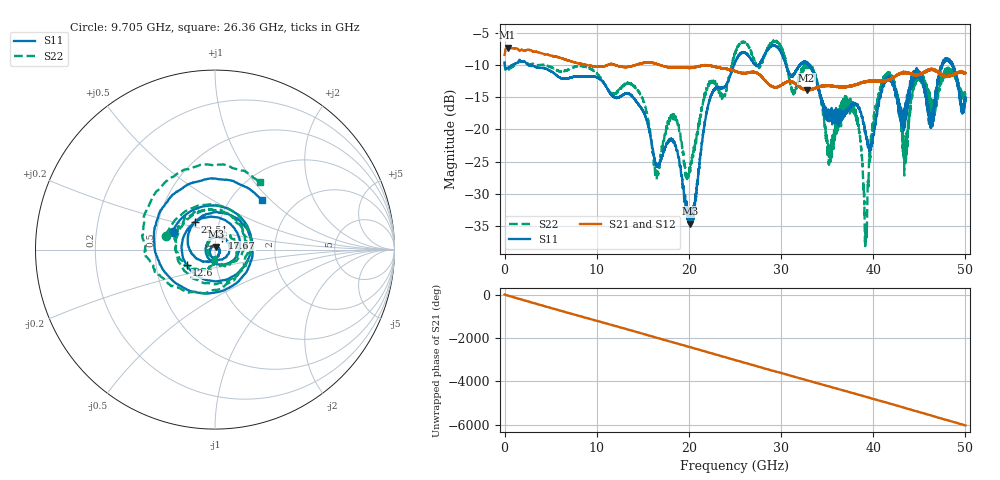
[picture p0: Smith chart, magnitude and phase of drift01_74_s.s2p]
!Created with skrf (http://scikit-rf.org).
# Hz S RI R 50.0
!freq ReS11 ImS11 ReS21 ImS21 ReS12 ImS12 ReS22 ImS22
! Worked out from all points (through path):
!   10001 points, 300 kHz to 50 GHz, reference 50 ohm
!   highest |S21| = -7.33 dB at 315.3 MHz (marker M1); lowest = -14.0 dB at 32.77 GHz (marker M2)
!   group delay of S21, straight-line fit = 335 ps
!   lowest |S11| = -34.6 dB at 20.15 GHz (marker M3), VSWR 1.04, Z = 50.7 + j1.73 ohm
!   |S11| at or under -10 dB: 2.567 GHz to 24.9 GHz (22.33 GHz wide, 163 % of centre); 30.53 GHz to 32.03 GHz (1.501 GHz wide, 4.8 % of centre); 33.07 GHz to 47.46 GHz (14.39 GHz wide, 35.7 % of centre) (the widest 3 of 21)
!   |S22| runs from -38.1 to -6.2 dB; largest |S21 - S12| = 0.011
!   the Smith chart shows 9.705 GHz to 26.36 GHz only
!   S11 on the Smith chart (normalised r, x): 9.705 GHz: 0.61, +0.13; 12.6 GHz: 0.72, -0.13; 17.67 GHz: 1.07, +0.14; 22.51 GHz: 0.76, +0.25; 26.36 GHz: 1.37, +0.89
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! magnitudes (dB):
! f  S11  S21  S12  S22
! 300 kHz  -9.6  -8.5  -8.5  -9.6
! 315.3 MHz  -10.5  -7.3  -7.3  -10.9
! 8.335 GHz  -11.8  -9.8  -9.8  -10.2
! 9.705 GHz  -11.8  -10.2  -10.2  -10.9
! 12.6 GHz  -14.9  -10.3  -10.3  -13.7
! 16.67 GHz  -25.7  -9.9  -9.9  -26.9
! 17.67 GHz  -22.2  -10.4  -10.3  -19.4
! 20.15 GHz  -34.6  -10.5  -10.5  -25.9
! 22.51 GHz  -14.4  -10.2  -10.2  -12.3
! 25 GHz  -9.6  -11.0  -11.0  -8.2
! 26.36 GHz  -8.4  -11.2  -11.2  -6.9
! 32.77 GHz  -9.7  -14.0  -13.9  -10.0
! 33.34 GHz  -10.7  -13.8  -13.7  -10.7
! 35.27 GHz  -18.1  -13.2  -13.2  -22.9
! 37.96 GHz  -15.9  -13.1  -13.1  -17.0
! 39.17 GHz  -20.5  -12.6  -12.6  -37.0
! 40.1 GHz  -20.3  -12.5  -12.5  -17.3
! 41.67 GHz  -11.8  -12.2  -12.3  -12.3
! 43.45 GHz  -17.1  -11.3  -11.3  -24.4
! 44.88 GHz  -11.1  -11.5  -11.5  -12.3
! 46.23 GHz  -18.4  -10.8  -10.8  -15.4
! 50 GHz  -15.6  -11.3  -11.3  -14.9
